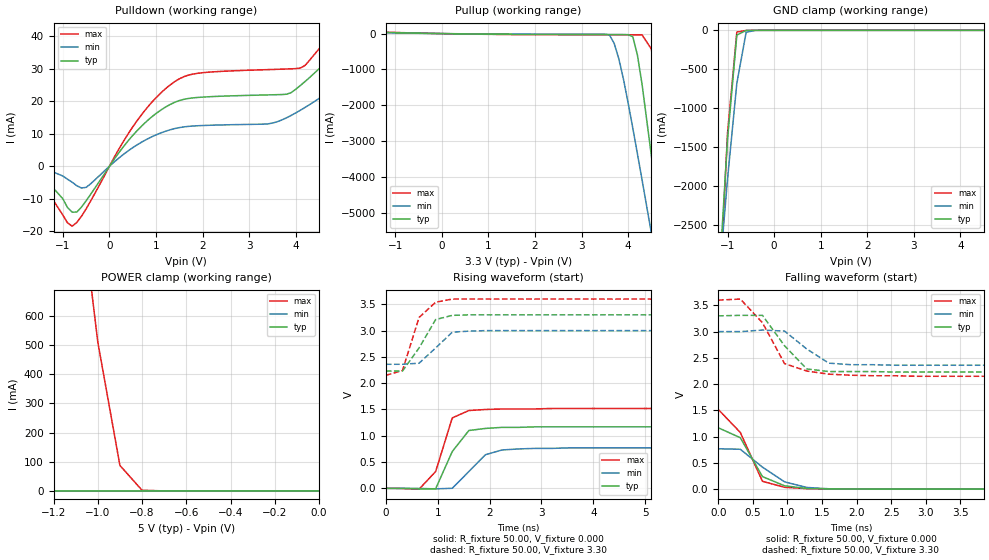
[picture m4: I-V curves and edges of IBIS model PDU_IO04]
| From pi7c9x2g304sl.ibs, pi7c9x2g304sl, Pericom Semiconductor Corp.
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|   Model PDU_IO04
[Model]   PDU_IO04
Model_type   I/O
Polarity   Non-Inverting
Enable   Active-Low
Vinl =   0.80V
Vinh =   2.00V
Vmeas =   1.65V
Cref =  50.00pF
Rref =   1.00M
Vref =  0.000V
C_comp   1.79pF   1.61pF   1.96pF
[Temperature Range]   25.00   0.12k   0.000
[Pullup Reference]   3.30V   3.00V   3.60V
[Pulldown Reference]   0.000V   0.000V   0.000V
[POWER Clamp Reference]   5.00V   4.50V   5.50V
[GND Clamp Reference]   0.000V   0.000V   0.000V
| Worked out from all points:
|   slope of the pulldown table from 0 to 0.495 V, typ, clamps not added: 52.6 ohm
|   slope of the pullup table from 0 to 0.495 V, typ, clamps not added: 52 ohm
|   GND clamp passes 1 mA (typ) near -0.60 V on its own axis
|   POWER clamp passes 1 mA (typ) near -1.31 V on its own axis
|   rising waveform, R_fixture 50.00, V_fixture 0.000: 20-80 % time 400ps typ, 463ps min, 296ps max; typ from 0.001 V to 1.17 V
|   rising waveform, R_fixture 50.00, V_fixture 3.30: 20-80 % time 411ps typ, 416ps min, 323ps max; typ from 2.23 V to 3.3 V
|   falling waveform, R_fixture 50.00, V_fixture 0.000: 20-80 % time 311ps typ, 488ps min, 366ps max; typ from 1.17 V to 0.001 V
|   falling waveform, R_fixture 50.00, V_fixture 3.30: 20-80 % time 404ps typ, 406ps min, 399ps max; typ from 3.3 V to 2.23 V
[Pulldown]
| voltage   I(typ)   I(min)   I(max)
-3.3V     0A         0A         0A
-1.7V     -1mA       0A         0A
-800mV    -14.13mA   -4.9mA     -18.43mA
-500mV    -10.62mA   -6.49mA    -13.11mA
600mV     11.05mA    6.64mA     14.15mA
1.5V      20.22mA    11.89mA    26.91mA
3.9V      22.65mA    15.64mA    29.98mA
4.9V      35.83mA    24.8mA     42.96mA
5.3V      42.18mA    28.73mA    50.51mA
5.7V      48.82mA    32.16mA    58.67mA
5.9V      52.2mA     18.27mA    62.94mA
6.6V      570mA      21.71mA    1.21A
[Pullup]
| voltage   I(typ)   I(min)   I(max)
-3.3V     77.9mA     40.43mA    94mA
3.6V      -25.14mA   -40.86mA   -33.17mA
3.7V      -25.22mA   -270mA     -33.27mA
3.8V      -25.38mA   -700mA     -33.37mA
4.1V      -86.95mA   -2.63A     -33.85mA
4.2V      -600mA     -3.35A     -35.26mA
4.3V      -1.42A     -4.08A     -38.8mA
4.5V      -3.41A     -5.56A     -430mA
4.7V      -5.5A      -7.05A     -2.52A
4.9V      -7.62A     -8.55A     -5.03A
5.1V      -9.76A     -10.05A    -7.62A
6.6V      -25.87A    -21.39A    -27.33A
[GND_clamp]
| voltage   I(typ)   I(min)   I(max)
-5V       -44.03A    -32.02A    -53.7A
-1.2V     -3.38A     -3.33A     -3.73A
-1V       -1.4A      -1.91A     -1.32A
-800mV    -61.51mA   -680mA     -21.84mA
-600mV    -890uA     -24.58mA   -1.59mA
-400mV    -41.62uA   -180uA     -62.74uA
5V        5.41nA     8.94nA     5.22nA
[POWER_clamp]
| voltage   I(typ)   I(min)   I(max)
-3.3V     6.83A      4.83uA     17.26A
-1.7V     880mA      31.74nA    5.49A
-1.6V     510mA      14.2nA     4.75A
-1.5V     140mA      12.99nA    4.01A
-1.4V     7.68mA     12.76nA    3.28A
-1.3V     180uA      12.58nA    2.54A
-1.1V     95.66nA    12.25nA    1.14A
-1V       8.35nA     12.1nA     510mA
-900mV    6.3nA      11.95nA    87.31mA
-800mV    6.14nA     11.8nA     2.31mA
0V        5.27nA     10.73nA    5.78nA
[Ramp]
| variable   typ   min   max
dV/dt_r   0.70/0.31n   0.46/0.39n   0.91/0.26n
dV/dt_f   0.64/0.26n   0.38/0.28n   0.87/0.22n
R_load = 50.00
[Rising Waveform]
R_fixture = 50.00
V_fixture = 0.000
V_fixture_min = 0.000
V_fixture_max = 0.000
L_fixture = 0.000H
C_fixture = 0.000F
| time   V(typ)   V(min)   V(max)
0s        830uV      610uV      1.03mV
640ps     -10.92mV   -1.26mV    -15.27mV
960ps     -6.94mV    -9.99mV    320mV
1.28ns    700mV      1.73mV     1.34V
1.6ns     1.1V       320mV      1.48V
1.92ns    1.14V      640mV      1.5V
2.24ns    1.16V      730mV      1.51V
2.56ns    1.16V      750mV      1.51V
3.52ns    1.17V      770mV      1.52V
16ns      1.17V      770mV      1.52V
[Rising Waveform]
R_fixture = 50.00
V_fixture = 3.30
V_fixture_min = 3.00
V_fixture_max = 3.60
L_fixture = 0.000H
C_fixture = 0.000F
| time   V(typ)   V(min)   V(max)
0s        2.23V      2.36V      2.15V
320ps     2.23V      2.36V      2.24V
640ps     2.67V      2.38V      3.25V
960ps     3.21V      2.67V      3.54V
1.28ns    3.29V      2.97V      3.6V
1.6ns     3.3V       2.99V      3.6V
1.92ns    3.3V       3V         3.6V
16ns      3.3V       3V         3.6V
[Falling Waveform]
R_fixture = 50.00
V_fixture = 0.000
V_fixture_min = 0.000
V_fixture_max = 0.000
L_fixture = 0.000H
C_fixture = 0.000F
| time   V(typ)   V(min)   V(max)
0s        1.17V      770mV      1.52V
320ps     980mV      760mV      1.08V
640ps     240mV      420mV      150mV
960ps     64.45mV    140mV      36.09mV
1.28ns    13.66mV    33.23mV    10.33mV
1.6ns     5.71mV     8.08mV     4.3mV
1.92ns    3.53mV     4.84mV     2.12mV
16ns      830uV      610uV      1.03mV
[Falling Waveform]
R_fixture = 50.00
V_fixture = 3.30
V_fixture_min = 3.00
V_fixture_max = 3.60
L_fixture = 0.000H
C_fixture = 0.000F
| time   V(typ)   V(min)   V(max)
0s        3.3V       3V         3.6V
320ps     3.31V      3V         3.62V
640ps     3.31V      3.03V      3.17V
960ps     2.73V      3.01V      2.39V
1.28ns    2.29V      2.67V      2.25V
1.6ns     2.24V      2.4V       2.19V
1.92ns    2.24V      2.37V      2.17V
2.56ns    2.23V      2.36V      2.16V
2.88ns    2.23V      2.36V      2.15V
16ns      2.23V      2.36V      2.15V
